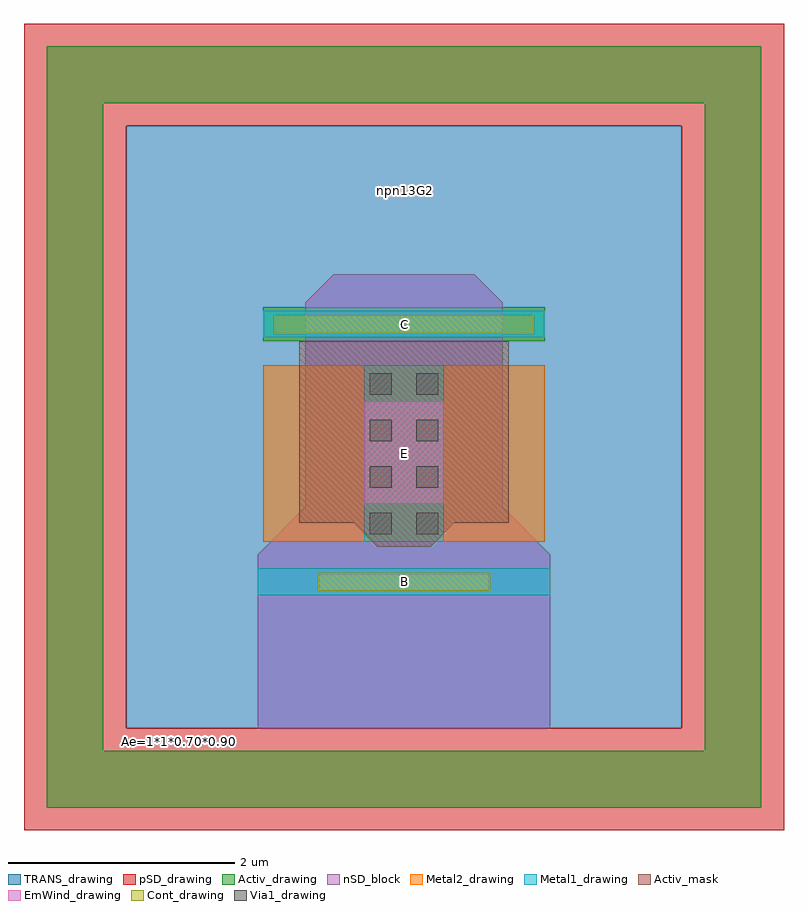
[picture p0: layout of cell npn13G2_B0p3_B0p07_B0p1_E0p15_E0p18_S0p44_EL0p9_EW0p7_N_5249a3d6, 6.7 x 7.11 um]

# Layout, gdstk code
import gdstk
lib = gdstk.Library(unit=1e-6, precision=1e-09)
def R(c, l, rs):  # rectangles x0, y0, x1, y1
    for r in rs: c.add(gdstk.rectangle(r[:2], r[2:], *l))
def P(c, l, *ps):  # polygons
    for p in ps: c.add(gdstk.Polygon(p, *l))
Activ_drawing = (1, 0)
Activ_mask = (1, 20)
Cont_drawing = (6, 0)
nSD_block = (7, 21)
Metal1_drawing = (8, 0)
Metal2_drawing = (10, 0)
pSD_drawing = (14, 0)
Via1_drawing = (19, 0)
TRANS_drawing = (26, 0)
EmWind_drawing = (33, 0)

rectangle_gdsfactorypcom = lib.new_cell('rectangle_gdsfactorypcomponentspshapesprectangle_S0p19__c3060a3f')
R(rectangle_gdsfactorypcom, Via1_drawing, [(0,0,0.19,0.19)])

c_rectangle_gdsfactorypcom = lib.new_cell('rectangle_gdsfactorypcomponentspshapesprectangle_S0p7_1_71895e14')
R(c_rectangle_gdsfactorypcom, Metal1_drawing, [(0,0,0.7,1.556)])

c_rectangle_gdsfactorypcom_ = lib.new_cell('rectangle_gdsfactorypcomponentspshapesprectangle_S2p280_f50832cf')
R(c_rectangle_gdsfactorypcom_, Cont_drawing, [(0,0,2.28,0.16)])

c_rectangle_gdsfactorypcom__ = lib.new_cell('rectangle_gdsfactorypcomponentspshapesprectangle_S1p52__7be19f5a')
R(c_rectangle_gdsfactorypcom__, Cont_drawing, [(0,0,1.52,0.16)])

c_rectangle_gdsfactorypcom___ = lib.new_cell('rectangle_gdsfactorypcomponentspshapesprectangle_S0p7_0_f54352eb')
R(c_rectangle_gdsfactorypcom___, EmWind_drawing, [(0,0,0.7,0.9)])

c_rectangle_gdsfactorypcom____ = lib.new_cell('rectangle_gdsfactorypcomponentspshapesprectangle_S2p48__4539386c')
R(c_rectangle_gdsfactorypcom____, Activ_drawing, [(0,0,2.48,0.3)])

c_rectangle_gdsfactorypcom_____ = lib.new_cell('rectangle_gdsfactorypcomponentspshapesprectangle_S2p48__05a47c96')
R(c_rectangle_gdsfactorypcom_____, Metal1_drawing, [(0,0,2.48,0.24)])

c_rectangle_gdsfactorypcom______ = lib.new_cell('rectangle_gdsfactorypcomponentspshapesprectangle_S2p58__74da9277')
R(c_rectangle_gdsfactorypcom______, Metal1_drawing, [(0,0,2.58,0.24)])

c_rectangle_gdsfactorypcom_______ = lib.new_cell('rectangle_gdsfactorypcomponentspshapesprectangle_S2p48__d5331a4a')
R(c_rectangle_gdsfactorypcom_______, Metal2_drawing, [(0,0,2.48,1.556)])

c_rectangle_gdsfactorypcom________ = lib.new_cell('rectangle_gdsfactorypcomponentspshapesprectangle_S2p12__9933aa8e')
R(c_rectangle_gdsfactorypcom________, Metal2_drawing, [(0,0,2.12,1.556)])

npn13g2_b0p3_b0p07_b0p1_ = lib.new_cell('npn13G2_B0p3_B0p07_B0p1_E0p15_E0p18_S0p44_EL0p9_EW0p7_N_5249a3d6')
P(npn13g2_b0p3_b0p07_b0p1_, Activ_drawing, [(-3.15,-3.13),(-3.15,3.58),(2.65,3.58),(2.65,3.08),(-2.65,3.08),(-2.65,-2.63),(2.65,-2.63),(2.65,3.58),(3.15,3.58),(3.15,-3.13)])
P(npn13g2_b0p3_b0p07_b0p1_, Activ_mask, [(-0.235,-0.83),(-0.445,-0.62),(-0.925,-0.62),(-0.925,0.98),(0.925,0.98),(0.925,-0.62),(0.445,-0.62),(0.235,-0.83)])
P(npn13g2_b0p3_b0p07_b0p1_, nSD_block, [(-1.29,-2.43),(-1.29,-0.9),(-0.87,-0.48),(-0.87,1.32),(-0.62,1.57),(0.62,1.57),(0.87,1.32),(0.87,-0.48),(1.29,-0.9),(1.29,-2.43)])
P(npn13g2_b0p3_b0p07_b0p1_, pSD_drawing, [(-3.35,-3.33),(-3.35,3.78),(2.45,3.78),(2.45,2.88),(-2.45,2.88),(-2.45,-2.43),(2.45,-2.43),(2.45,3.78),(3.35,3.78),(3.35,-3.33)])
R(npn13g2_b0p3_b0p07_b0p1_, TRANS_drawing, [(-2.45,-2.43,2.45,2.88)])
npn13g2_b0p3_b0p07_b0p1_.add(gdstk.Reference(rectangle_gdsfactorypcom, (-0.3,0.51)))
npn13g2_b0p3_b0p07_b0p1_.add(gdstk.Reference(rectangle_gdsfactorypcom, (0.11,0.51)))
npn13g2_b0p3_b0p07_b0p1_.add(gdstk.Reference(rectangle_gdsfactorypcom, (-0.3,0.1)))
npn13g2_b0p3_b0p07_b0p1_.add(gdstk.Reference(rectangle_gdsfactorypcom, (0.11,0.1)))
npn13g2_b0p3_b0p07_b0p1_.add(gdstk.Reference(rectangle_gdsfactorypcom, (-0.3,-0.31)))
npn13g2_b0p3_b0p07_b0p1_.add(gdstk.Reference(rectangle_gdsfactorypcom, (0.11,-0.31)))
npn13g2_b0p3_b0p07_b0p1_.add(gdstk.Reference(rectangle_gdsfactorypcom, (-0.3,-0.72)))
npn13g2_b0p3_b0p07_b0p1_.add(gdstk.Reference(rectangle_gdsfactorypcom, (0.11,-0.72)))
npn13g2_b0p3_b0p07_b0p1_.add(gdstk.Reference(c_rectangle_gdsfactorypcom, (-0.35,-0.785)))
npn13g2_b0p3_b0p07_b0p1_.add(gdstk.Reference(c_rectangle_gdsfactorypcom_, (-1.14,1.05)))
npn13g2_b0p3_b0p07_b0p1_.add(gdstk.Reference(c_rectangle_gdsfactorypcom__, (-0.76,-1.22)))
npn13g2_b0p3_b0p07_b0p1_.add(gdstk.Reference(c_rectangle_gdsfactorypcom___, (-0.35,-0.45)))
npn13g2_b0p3_b0p07_b0p1_.add(gdstk.Reference(c_rectangle_gdsfactorypcom____, (-1.24,0.98)))
npn13g2_b0p3_b0p07_b0p1_.add(gdstk.Reference(c_rectangle_gdsfactorypcom_____, (-1.24,1.01)))
npn13g2_b0p3_b0p07_b0p1_.add(gdstk.Reference(c_rectangle_gdsfactorypcom______, (-1.29,-1.26)))
npn13g2_b0p3_b0p07_b0p1_.add(gdstk.Reference(c_rectangle_gdsfactorypcom_______, (-1.24,-0.785)))
npn13g2_b0p3_b0p07_b0p1_.add(gdstk.Reference(c_rectangle_gdsfactorypcom_____, (-1.24,1.01)))
npn13g2_b0p3_b0p07_b0p1_.add(gdstk.Reference(c_rectangle_gdsfactorypcom______, (-1.29,-1.26)))
npn13g2_b0p3_b0p07_b0p1_.add(gdstk.Reference(c_rectangle_gdsfactorypcom________, (-1.06,-0.785)))
npn13g2_b0p3_b0p07_b0p1_.add(gdstk.Label('npn13G2', (0.015,2.31), layer=63, texttype=0))
npn13g2_b0p3_b0p07_b0p1_.add(gdstk.Label('C', (0,1.13), layer=63, texttype=0))
npn13g2_b0p3_b0p07_b0p1_.add(gdstk.Label('B', (0,-1.14), layer=63, texttype=0))
npn13g2_b0p3_b0p07_b0p1_.add(gdstk.Label('E', (0,-0.008), layer=63, texttype=0))
npn13g2_b0p3_b0p07_b0p1_.add(gdstk.Label('Ae=1*1*0.70*0.90', (-1.977,-2.546), layer=63, texttype=0))

lib.write_gds('npn13G2_B0p3_B0p07_B0p1_E0p15_E0p18_S0p44_EL0p9_EW0p7_N_5249a3d6.gds')
